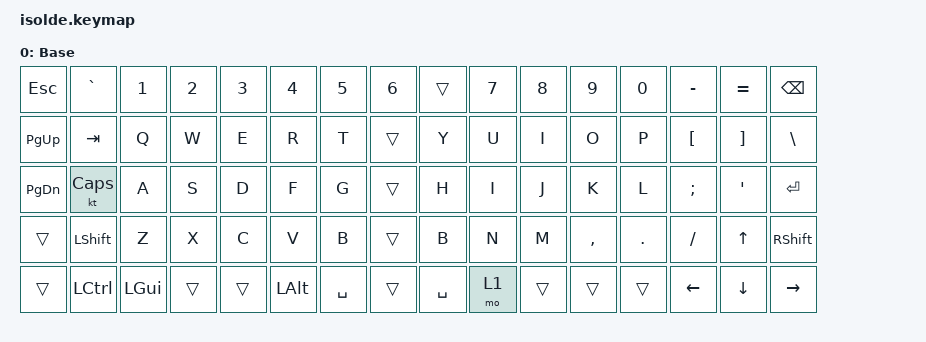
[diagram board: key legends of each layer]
/*
 * Copyright (c) 2020 The ZMK Contributors
 *
 * SPDX-License-Identifier: MIT
 */

#include <behaviors.dtsi>
#include <dt-bindings/zmk/keys.h>
#include <dt-bindings/zmk/bt.h>

/ {
        keymap {
                compatible = "zmk,keymap";

                default_layer {
// -----------------------------------------------------------------------------------------
// |  ECS |  ~  |  1  |  2  |  3  |  4  |  5  |  6  |        7  |  8  |  9  |  0  |  -  |  +  | BSPC | 
// | PG_UP| TAB |  Q  |  W  |  E  |  R  |  T  |     |  Y  |  U  |  I  |  O  |  P  |  [  |  ]  |   \  |
// | PG_DW| CAP |  A  |  S  |  D  |  F  |  G  |     |  H  |  I  |  J  |  K  |  L  |  ;  |  '  | ENTR |
// |      | SHFT|  Z  |  X  |  C  |  V  |  B  |     |  B  |  N  |  M  |  ,  |  .  |  /  |  UP | SHFT | 
//        | CTRL| WIN |     |     | ALT |SPACE|     |SPACE|  FN |     |     |     | LEFT| DOWN|RIGHT |      
                        display-name = "Base";
                        bindings = <
   &kp ESC   &kp GRAVE  &kp N1          &kp N2  &kp N3  &kp N4   &kp N5         &kp N6  &trans           &kp N7  &kp N8  &kp N9          &kp N0  &kp MINUS       &kp EQUAL       &kp BSPC 
   &kp PG_UP &kp TAB    &kp Q           &kp W   &kp E   &kp R    &kp T          &trans   &kp Y           &kp U   &kp I   &kp O           &kp P   &kp LBKT        &kp RBKT        &kp BSLH
   &kp PG_DN &kt CAPS   &kp A           &kp S   &kp D   &kp F    &kp G          &trans   &kp H           &kp I   &kp J   &kp K           &kp L   &kp SEMI        &kp SQT         &kp ENTER
   &trans     &kp LSHFT  &kp Z           &kp X   &kp C   &kp V    &kp B          &trans   &kp B           &kp N   &kp M   &kp COMMA       &kp DOT &kp SLASH       &kp UP          &kp RSHFT
   &trans     &kp LCTRL  &kp LGUI        &trans   &trans   &kp LALT &kp SPACE      &trans   &kp SPACE       &mo 1   &trans   &trans           &trans   &kp LEFT        &kp DOWN        &kp RIGHT
                        >;
                };
                lower_layer {
                        bindings = <
        /* Row 0 – Symbols / Numbers */
        &kp ESC   &kp TILDE &kp EXCL &kp AT   &kp HASH &kp DLLR &kp PRCNT &kp CARET
        &kp AMPS  &kp STAR  &kp LPAR &kp RPAR &kp UNDER &kp PLUS &kp DEL  &trans

        /* Row 1 – Brackets / Math */
        &kp HOME  &trans     &kp LBRC &kp RBRC &kp LCBR &kp RCBR &kp PIPE  &trans
        &kp EQUAL &kp MINUS &kp LT   &kp GT   &kp COLON &kp SEMI &kp BSLH &kp GRAVE

        /* Row 2 – Navigation */
        &kp END   &trans     &kp LEFT &kp DOWN &kp UP   &kp RIGHT &kp PG_UP &trans
        &kp PG_DN &kp HOME  &kp END  &trans &trans &trans &trans &kp ENTER

        /* Row 3 – Media */
        &trans     &kp LSHFT &kp MUTE &kp VOLD &kp VOLU &kp MPLY &kp MNXT &trans
        &kp MPRV  &trans &trans &trans &trans &trans &kp PG_UP &kp RSHFT

        /* Row 4 – System */
        &trans     &kp LCTRL &kp LGUI &trans &trans &kp LALT &kp TAB &bt BT_CLR
        &kp SPACE &trans   &bt BT_SEL 1 &bt BT_SEL 2 &bt BT_SEL 3 &bt BT_SEL 4 &kp RIGHT
                };

                raise_layer {
                                bindings <>;
                };
        };
};
